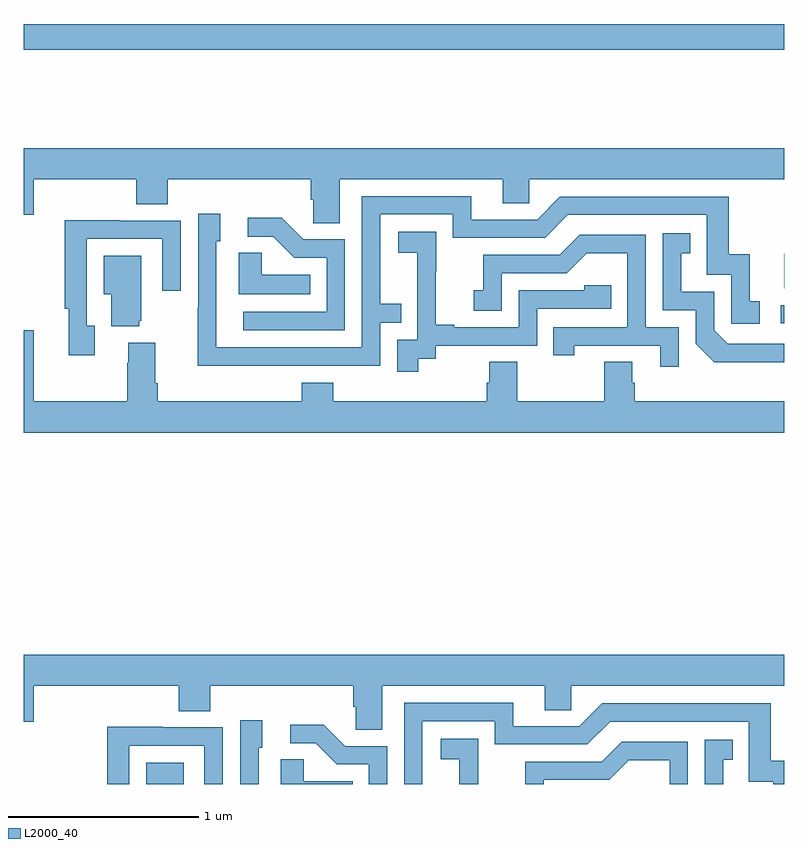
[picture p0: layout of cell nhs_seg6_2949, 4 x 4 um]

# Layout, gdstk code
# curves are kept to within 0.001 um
import gdstk
lib = gdstk.Library(unit=1e-6, precision=1e-09)
def R(c, l, rs):  # rectangles x0, y0, x1, y1
    for r in rs: c.add(gdstk.rectangle(r[:2], r[2:], *l))
def P(c, l, *ps):  # polygons
    for p in ps: c.add(gdstk.Polygon(p, *l))
L2000_40 = (2000, 40)

nhs_seg6_2949 = lib.new_cell('nhs_seg6_2949')
R(nhs_seg6_2949, L2000_40, [(285.644,933.5,285.841,933.613), (288.981,935.922,289,936.018), (288.998,936.107,289,936.289), (285,937.36,289,937.496)])
P(nhs_seg6_2949, L2000_40, [(286.663,936.68),(287.519,936.68),(287.519,936.553),(287.658,936.553),(287.658,936.68),(289,936.68),(289,936.844),(285,936.844),(285,936.492),(285.052,936.492),(285.052,936.68),(285.593,936.68),(285.593,936.547),(285.758,936.547),(285.758,936.68),(286.511,936.68),(286.511,936.571),(286.524,936.571),(286.524,936.448),(286.663,936.448)],
  [(286.379,935.7),(286.875,935.7),(286.875,935.925),(286.985,935.925),(286.985,936.026),(286.875,936.026),(286.875,936.495),(287.256,936.495),(287.256,936.372),(287.742,936.372),(287.862,936.492),(288.591,936.492),(288.591,936.177),(288.72,936.177),(288.72,935.919),(288.871,935.919),(288.871,936.039),(288.818,936.039),(288.818,936.286),(288.707,936.286),(288.707,936.588),(287.82,936.588),(287.7,936.468),(287.353,936.468),(287.353,936.591),(286.779,936.591),(286.779,935.796),(286.014,935.796),(286.014,936.354),(286.033,936.354),(286.033,936.499),(285.918,936.499),(285.918,936.005),(285.916,936.005),(285.916,935.699)],
  [(286.689,936.363),(286.47,936.363),(286.357,936.476),(286.179,936.476),(286.179,936.378),(286.313,936.378),(286.424,936.267),(286.593,936.267),(286.593,935.982),(286.155,935.982),(286.155,935.886),(286.689,935.886)],
  [(285.373,935.91),(285.333,935.91),(285.333,936.366),(285.729,936.366),(285.729,936.093),(285.825,936.093),(285.825,936.462),(285.509,936.462),(285.509,936.464),(285.217,936.464),(285.217,935.998),(285.236,935.998),(285.236,935.754),(285.373,935.754)],
  [(287.074,935.737),(287.166,935.737),(287.166,935.805),(287.7,935.805),(287.7,936),(288.089,936),(288.089,936.123),(287.949,936.123),(287.949,936.096),(287.604,936.096),(287.604,935.901),(287.263,935.901),(287.263,935.914),(287.168,935.914),(287.168,936.197),(287.169,936.197),(287.169,936.403),(286.971,936.403),(286.971,936.293),(287.069,936.293),(287.069,936.065),(287.07,936.065),(287.07,935.835),(286.965,935.835),(286.965,935.667),(287.074,935.667)],
  [(289,935.814),(288.702,935.814),(288.63,935.886),(288.63,936.087),(288.457,936.087),(288.457,936.291),(288.506,936.291),(288.506,936.397),(288.36,936.397),(288.36,935.991),(288.534,935.991),(288.534,935.814),(288.632,935.717),(289,935.717)],
  [(288.444,935.901),(288.27,935.901),(288.27,936.387),(287.924,936.387),(287.819,936.282),(287.416,936.282),(287.416,936.097),(287.367,936.097),(287.367,935.988),(287.514,935.988),(287.514,936.186),(287.856,936.186),(287.96,936.29),(288.174,936.29),(288.174,935.901),(287.785,935.901),(287.785,935.754),(287.896,935.754),(287.896,935.805),(288.347,935.805),(288.347,935.694),(288.444,935.694)],
  [(286.508,936.178),(286.251,936.178),(286.251,936.293),(286.13,936.293),(286.13,936.074),(286.508,936.074)],
  [(285.608,935.937),(285.619,935.937),(285.619,936.277),(285.422,936.277),(285.422,936.074),(285.461,936.074),(285.461,935.906),(285.608,935.906)],
  [(289,935.512),(288.212,935.512),(288.212,935.61),(288.199,935.61),(288.199,935.72),(288.052,935.72),(288.052,935.512),(287.595,935.512),(287.595,935.72),(287.447,935.72),(287.447,935.61),(287.435,935.61),(287.435,935.512),(286.628,935.512),(286.628,935.611),(286.463,935.611),(286.463,935.512),(285.704,935.512),(285.704,935.608),(285.691,935.608),(285.691,935.821),(285.551,935.821),(285.551,935.714),(285.544,935.714),(285.544,935.512),(285.052,935.512),(285.052,935.887),(285,935.887),(285,935.348),(289,935.348)],
  [(286.885,934.016),(287.741,934.016),(287.741,933.889),(287.88,933.889),(287.88,934.016),(289,934.016),(289,934.18),(285,934.18),(285,933.828),(285.052,933.828),(285.052,934.016),(285.815,934.016),(285.815,933.883),(285.98,933.883),(285.98,934.016),(286.733,934.016),(286.733,933.907),(286.746,933.907),(286.746,933.784),(286.885,933.784)],
  [(287.097,933.831),(287.478,933.831),(287.478,933.708),(287.964,933.708),(288.084,933.828),(288.813,933.828),(288.813,933.513),(288.942,933.513),(288.942,933.5),(289,933.5),(289,933.622),(288.929,933.622),(288.929,933.924),(288.042,933.924),(287.922,933.804),(287.575,933.804),(287.575,933.927),(287.001,933.927),(287.001,933.5),(287.097,933.5)],
  [(286.236,933.69),(286.255,933.69),(286.255,933.835),(286.14,933.835),(286.14,933.5),(286.236,933.5)],
  [(286.911,933.699),(286.692,933.699),(286.579,933.812),(286.401,933.812),(286.401,933.714),(286.535,933.714),(286.646,933.603),(286.815,933.603),(286.815,933.5),(286.911,933.5)],
  [(285.555,933.702),(285.951,933.702),(285.951,933.5),(286.047,933.5),(286.047,933.798),(285.731,933.798),(285.731,933.8),(285.439,933.8),(285.439,933.5),(285.555,933.5)],
  [(287.39,933.533),(287.391,933.533),(287.391,933.739),(287.193,933.739),(287.193,933.629),(287.291,933.629),(287.291,933.5),(287.39,933.5)],
  [(288.679,933.627),(288.728,933.627),(288.728,933.733),(288.582,933.733),(288.582,933.5),(288.679,933.5)],
  [(287.736,933.522),(288.078,933.522),(288.182,933.626),(288.396,933.626),(288.396,933.5),(288.492,933.5),(288.492,933.723),(288.146,933.723),(288.041,933.618),(287.638,933.618),(287.638,933.5),(287.736,933.5)],
  [(286.73,933.514),(286.473,933.514),(286.473,933.629),(286.352,933.629),(286.352,933.5),(286.73,933.5)])

lib.write_gds('nhs_seg6_2949.gds')
